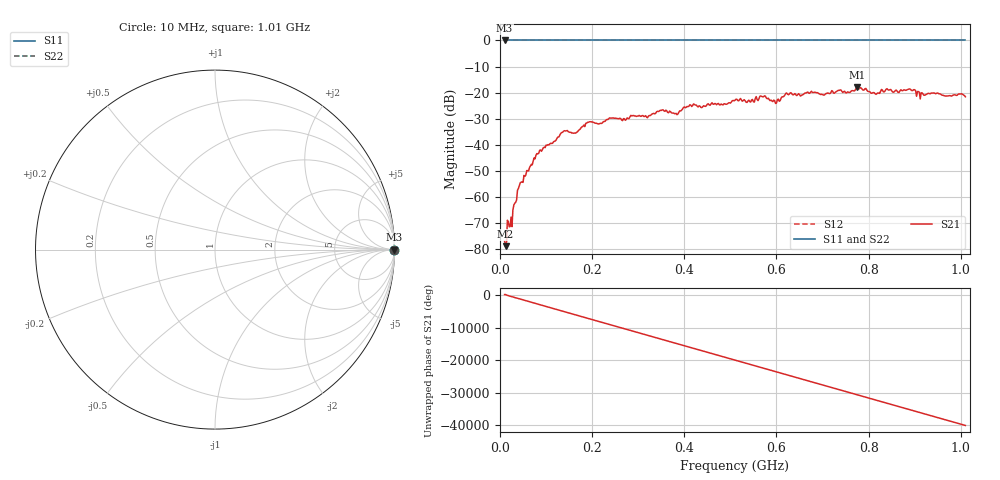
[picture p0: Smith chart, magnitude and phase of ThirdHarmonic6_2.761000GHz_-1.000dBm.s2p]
! 8/17/2025 6:58:09 AM
! C:\ANRITSUVNA\TEMP\TEMP.S2P
! CHANNEL.1
! TR.MEASUREMENT
! RAW.DATA
! RF.CORRECTION.OFF
! AVERAGING.OFF
! IF.BANDWIDTH: 5KHZ
! SWEEPTYPE:  FREQ.SWEEP(Linear)
! Reference Plane Port Info
! PORT:  PORT1  PORT2
! DISTANCE:  0  m  0  m
! TIME:  0  s  0  s
! PHASE.OFFSET:  0  deg.  0  deg.
! LOSS:  0  dB  0  dB
! REF.LOSS:  0  dB  0  dB
! REF.FREQ:  0  Hz  0  Hz
! Power Info
! POWER:  -20  dBm  -20  dBm
! EFF.POWER:  -20  dBm  -20  dBm
! SOURCE.ATTEN:  0  dB  0  dB
! TEST.ATTEN:  0  dB  0  dB
# GHZ S RI R 50.0
! FREQ.GHZ  S11RE  S11IM  S21RE  S21IM  S12RE  S12IM  S22RE  S22IM
!; PortSelection: Port_12
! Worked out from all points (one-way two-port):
!   501 points, 10 MHz to 1.01 GHz, reference 50 ohm
!   highest |S21| = -17.93 dB at 774 MHz (marker M1); lowest = -78.8 dB at 12 MHz (marker M2)
!   lowest |S11| = 0.0 dB at 10 MHz (marker M3)
!   |S11| at or under -10 dB: nowhere
!   |S22| runs from 0.0 to 0.0 dB; largest |S21 - S12| = 1.1
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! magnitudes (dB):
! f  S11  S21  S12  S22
! 10 MHz  0.0  -77.0  0.0  0.0
! 12 MHz  0.0  -78.8  0.0  0.0
! 20 MHz  0.0  -71.4  0.0  0.0
! 24 MHz  0.0  -67.7  0.0  0.0
! 42 MHz  0.0  -55.5  0.0  0.0
! 78 MHz  0.0  -44.0  0.0  0.0
! 136 MHz  0.0  -35.1  0.0  0.0
! 164 MHz  0.0  -35.5  0.0  0.0
! 178 MHz  0.0  -33.1  0.0  0.0
! 194 MHz  0.0  -31.2  0.0  0.0
! 344 MHz  0.0  -27.2  0.0  0.0
! 382 MHz  0.0  -27.9  0.0  0.0
! 416 MHz  0.0  -25.3  0.0  0.0
! 510 MHz  0.0  -22.9  0.0  0.0
! 572 MHz  0.0  -21.6  0.0  0.0
! 596 MHz  0.0  -23.1  0.0  0.0
! 622 MHz  0.0  -20.1  0.0  0.0
! 678 MHz  0.0  -19.9  0.0  0.0
! 774 MHz  0.0  -17.9  0.0  0.0
! 818 MHz  0.0  -20.4  0.0  0.0
! 844 MHz  0.0  -19.0  0.0  0.0
! 1.01 GHz  0.0  -21.6  0.0  0.0
